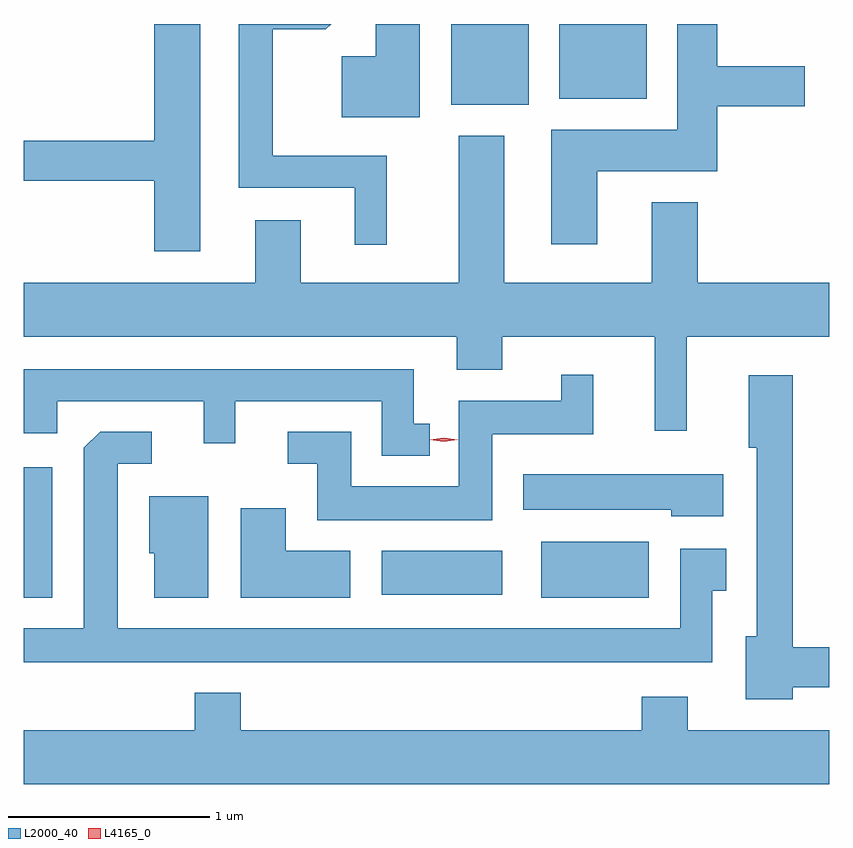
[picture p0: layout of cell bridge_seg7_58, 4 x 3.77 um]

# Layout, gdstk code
import gdstk
lib = gdstk.Library(unit=1e-6, precision=1e-09)
def R(c, l, rs):  # rectangles x0, y0, x1, y1
    for r in rs: c.add(gdstk.rectangle(r[:2], r[2:], *l))
def P(c, l, *ps):  # polygons
    for p in ps: c.add(gdstk.Polygon(p, *l))
L2000_40 = (2000, 40)
L4165_0 = (4165, 0)

bridge_seg7_58 = lib.new_cell('bridge_seg7_58')
R(bridge_seg7_58, L2000_40, [(1620.272,1761.861,1620.414,1762.509), (1622.841,1761.861,1623.374,1762.139), (1622.051,1761.876,1622.649,1762.094), (1622.396,1764.306,1622.779,1764.708), (1622.931,1764.336,1623.364,1764.708)])
P(bridge_seg7_58, L2000_40, [(1623.119,1763.976),(1623.714,1763.976),(1623.714,1764.301),(1624.149,1764.301),(1624.149,1764.499),(1623.714,1764.499),(1623.714,1764.708),(1623.516,1764.708),(1623.516,1764.184),(1622.891,1764.184),(1622.891,1763.616),(1623.119,1763.616)],
  [(1622.074,1764.054),(1621.509,1764.054),(1621.509,1764.681),(1621.772,1764.681),(1621.799,1764.708),(1621.341,1764.708),(1621.341,1763.896),(1621.916,1763.896),(1621.916,1763.613),(1622.074,1763.613)],
  [(1622.239,1764.708),(1622.021,1764.708),(1622.021,1764.549),(1621.851,1764.549),(1621.851,1764.246),(1622.239,1764.246)],
  [(1621.149,1764.708),(1620.921,1764.708),(1620.921,1764.129),(1620.272,1764.129),(1620.272,1763.931),(1620.921,1763.931),(1620.921,1763.581),(1621.149,1763.581)],
  [(1623.564,1763.156),(1624.272,1763.156),(1624.272,1763.424),(1623.619,1763.424),(1623.619,1763.824),(1623.391,1763.824),(1623.391,1763.424),(1622.659,1763.424),(1622.659,1764.154),(1622.431,1764.154),(1622.431,1763.424),(1621.649,1763.424),(1621.649,1763.734),(1621.421,1763.734),(1621.421,1763.424),(1620.272,1763.424),(1620.272,1763.156),(1622.421,1763.156),(1622.421,1762.991),(1622.649,1762.991),(1622.649,1763.156),(1623.406,1763.156),(1623.406,1762.688),(1623.564,1762.688)],
  [(1622.288,1762.724),(1622.209,1762.724),(1622.209,1762.994),(1620.272,1762.994),(1620.272,1762.676),(1620.439,1762.676),(1620.439,1762.836),(1621.166,1762.836),(1621.166,1762.628),(1621.324,1762.628),(1621.324,1762.836),(1622.051,1762.836),(1622.051,1762.566),(1622.288,1762.566)],
  [(1622.599,1762.671),(1623.099,1762.671),(1623.099,1762.968),(1622.941,1762.968),(1622.941,1762.839),(1622.431,1762.839),(1622.431,1762.414),(1621.899,1762.414),(1621.899,1762.684),(1621.583,1762.684),(1621.583,1762.526),(1621.731,1762.526),(1621.731,1762.246),(1622.599,1762.246)],
  [(1624.089,1761.416),(1624.272,1761.416),(1624.272,1761.614),(1624.089,1761.614),(1624.089,1762.964),(1623.871,1762.964),(1623.871,1762.606),(1623.911,1762.606),(1623.911,1761.669),(1623.856,1761.669),(1623.856,1761.356),(1624.089,1761.356)],
  [(1623.689,1761.896),(1623.759,1761.896),(1623.759,1762.104),(1623.531,1762.104),(1623.531,1761.709),(1620.739,1761.709),(1620.739,1762.526),(1620.908,1762.526),(1620.908,1762.684),(1620.652,1762.684),(1620.571,1762.604),(1620.571,1761.709),(1620.272,1761.709),(1620.272,1761.541),(1623.689,1761.541)],
  [(1623.744,1762.474),(1622.751,1762.474),(1622.751,1762.296),(1623.486,1762.296),(1623.486,1762.266),(1623.744,1762.266)],
  [(1621.189,1762.364),(1620.896,1762.364),(1620.896,1762.081),(1620.921,1762.081),(1620.921,1761.861),(1621.189,1761.861)],
  [(1621.894,1762.094),(1621.574,1762.094),(1621.574,1762.304),(1621.351,1762.304),(1621.351,1761.861),(1621.894,1761.861)],
  [(1624.272,1761.204),(1623.569,1761.204),(1623.569,1761.369),(1623.341,1761.369),(1623.341,1761.204),(1621.349,1761.204),(1621.349,1761.389),(1621.121,1761.389),(1621.121,1761.204),(1620.272,1761.204),(1620.272,1760.936),(1624.272,1760.936)])
P(bridge_seg7_58, L4165_0, [(1622.358,1762.635),(1622.289,1762.644),(1622.289,1762.645),(1622.289,1762.645),(1622.358,1762.655),(1622.428,1762.645),(1622.428,1762.645),(1622.428,1762.644)])

lib.write_gds('bridge_seg7_58.gds')
